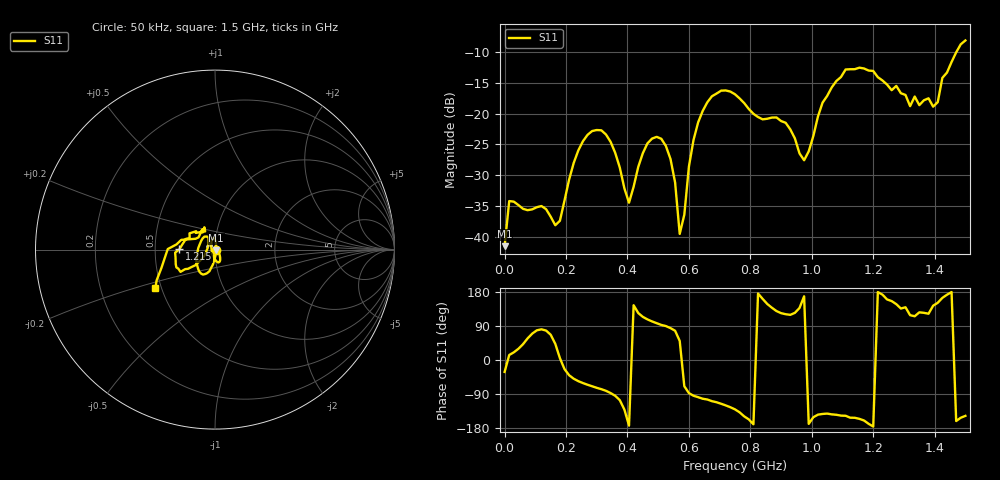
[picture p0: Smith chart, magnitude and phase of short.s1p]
! Created with skrf 1.8.0 (http://scikit-rf.org).
# Hz S RI R 50.0
!freq ReS11 ImS11
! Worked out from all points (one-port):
!   101 points, 50 kHz to 1.5 GHz, reference 50 ohm
!   lowest |S11| = -41.5 dB at 50 kHz (marker M1), VSWR 1.02, Z = 50.7 - j0.444 ohm
!   |S11| at or under -10 dB: start of sweep to 1.47 GHz
!   S11 on the Smith chart (normalised r, x): 50 kHz: 1.01, -0.01; 1.215 GHz: 0.67, +0.00; 1.5 GHz: 0.46, -0.23
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50000  0.00715 -0.00438
1.50495e7  0.019 0.00444
1.20046e8  0.0028 0.0175
1.650445e8  0.00913 0.0084
1.950435e8  0.018 -0.00804
2.40042e8  0.0283 -0.0417
2.850405e8  0.0255 -0.0677
3.30039e8  0.0102 -0.067
3.750375e8  -0.0101 -0.0351
4.050365e8  -0.0188 -0.00224
4.650345e8  -0.0169 0.0549
5.10033e8  -0.0028 0.0625
5.550315e8  0.00611 0.0269
5.70031e8  0.00672 0.00813
5.850305e8  0.00536 -0.0141
6.0003e8  0.00167 -0.0372
6.30029e8  -0.0121 -0.0842
6.750275e8  -0.0444 -0.1314
7.50025e8  -0.0931 -0.1097
9.450185e8  -0.0356 0.052
9.750175e8  -0.041 0.00868
1.035016e9  -0.0974 -0.0751
1.125012e9  -0.2036 -0.1072
1.21501e9  -0.1982 0.00268
1.320006e9  -0.0546 0.1015
1.410003e9  -0.1087 0.0603
1.425002e9  -0.188 0.0543
1.5e9  -0.3323 -0.2121
